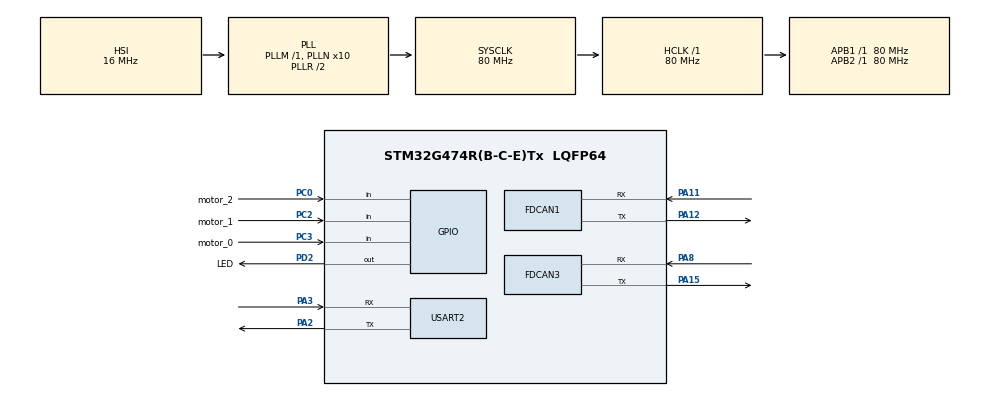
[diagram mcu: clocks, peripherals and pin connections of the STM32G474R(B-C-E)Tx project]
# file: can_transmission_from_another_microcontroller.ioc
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FDCAN1.AutoRetransmission=ENABLE
FDCAN1.CalculateBaudRateNominal=1000000
FDCAN1.CalculateTimeBitNominal=1000
FDCAN1.CalculateTimeQuantumNominal=50.0
FDCAN1.DataPrescaler=1
FDCAN1.DataTimeSeg1=31
FDCAN1.DataTimeSeg2=8
FDCAN1.FrameFormat=FDCAN_FRAME_FD_BRS
FDCAN1.NominalPrescaler=4
FDCAN1.NominalTimeSeg1=15
FDCAN1.NominalTimeSeg2=4
FDCAN1.StdFiltersNbr=1
FDCAN3.AutoRetransmission=ENABLE
FDCAN3.CalculateBaudRateNominal=1000000
FDCAN3.CalculateTimeBitNominal=1000
FDCAN3.CalculateTimeQuantumNominal=50.0
FDCAN3.DataPrescaler=1
FDCAN3.DataTimeSeg1=15
FDCAN3.DataTimeSeg2=4
FDCAN3.ExtFiltersNbr=1
FDCAN3.FrameFormat=FDCAN_FRAME_CLASSIC
FDCAN3.NominalPrescaler=4
FDCAN3.NominalTimeSeg1=15
FDCAN3.NominalTimeSeg2=4
FDCAN3.StdFiltersNbr=1
Mcu.Family=STM32G4
Mcu.Name=STM32G474R(B-C-E)Tx
Mcu.Package=LQFP64
NVIC.FDCAN1_IT0_IRQn=true\:0\:0\:false\:false\:true\:true\:true\:true
NVIC.FDCAN1_IT1_IRQn=true\:0\:0\:false\:false\:true\:true\:true\:true
NVIC.FDCAN3_IT0_IRQn=true\:0\:0\:false\:false\:true\:true\:true\:true
NVIC.FDCAN3_IT1_IRQn=true\:0\:0\:false\:false\:true\:true\:true\:true
NVIC.PriorityGroup=NVIC_PRIORITYGROUP_4
NVIC.TIM6_DAC_IRQn=true\:0\:0\:false\:false\:true\:true\:true\:true
PA11.Mode=FDCAN_Activate
PA11.Signal=FDCAN1_RX
PA12.Mode=FDCAN_Activate
PA12.Signal=FDCAN1_TX
PA15.Mode=FDCAN_Activate
PA15.Signal=FDCAN3_TX
PA2.Mode=Asynchronous
PA2.Signal=USART2_TX
PA3.Mode=Asynchronous
PA3.Signal=USART2_RX
PA8.Mode=FDCAN_Activate
PA8.Signal=FDCAN3_RX
PC0.GPIO_Label=motor_2
PC0.Signal=GPIO_Input
PC2.GPIO_Label=motor_1
PC2.Signal=GPIO_Input
PC3.GPIO_Label=motor_0
PC3.Signal=GPIO_Input
PD2.GPIO_Label=LED
PD2.Signal=GPIO_Output
ProjectManager.HeapSize=0x200
ProjectManager.StackSize=0x400
ProjectManager.TargetToolchain=CMake
RCC.ADC12Freq_Value=80000000
RCC.ADC345Freq_Value=80000000
RCC.AHBFreq_Value=80000000
RCC.APB1Freq_Value=80000000
RCC.APB1TimFreq_Value=80000000
RCC.APB2Freq_Value=80000000
RCC.APB2TimFreq_Value=80000000
RCC.CortexFreq_Value=80000000
RCC.EXTERNAL_CLOCK_VALUE=12288000
RCC.HCLKFreq_Value=80000000
RCC.HSE_VALUE=8000000
RCC.HSI48_VALUE=48000000
RCC.HSI_VALUE=16000000
RCC.LSE_VALUE=32768
RCC.PLLN=10
RCC.SYSCLKFreq_VALUE=80000000
RCC.SYSCLKSource=RCC_SYSCLKSOURCE_PLLCLK
RCC.USBFreq_Value=80000000
RCC.VCOOutputFreq_Value=160000000
TIM6.PeriodNoDither=1
TIM6.Prescaler=39999
USART2.VirtualMode-Asynchronous=VM_ASYNC
VP_SYS_VS_DBSignals.Mode=DisableDeadBatterySignals
VP_TIM6_VS_ClockSourceINT.Mode=Enable_Timer
board=custom

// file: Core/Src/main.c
/* USER CODE BEGIN Header */
/**
  ******************************************************************************
  * @file           : main.c
  * @brief          : Main program body
  ******************************************************************************
  * @attention
  *
  * Copyright (c) 2026 STMicroelectronics.
  * All rights reserved.
  *
  * This software is licensed under terms that can be found in the LICENSE file
  * in the root directory of this software component.
  * If no LICENSE file comes with this software, it is provided AS-IS.
  *
  ******************************************************************************
  */
/* USER CODE END Header */
#include "main.h"

/* USER CODE BEGIN Includes */
#include <stdint.h>
#include <string.h>
#include <stdio.h>
#include <math.h>
/* USER CODE END Includes */

/* USER CODE BEGIN PTD */
typedef struct __attribute__((packed)) { /* __attribute__((packed))で余計なメモリを入れない設定に */
    float vx;                            /* byte0-3: m/s (そのまま) */
    float vy;                            /* byte4-7: m/s (そのまま) */
    float omega;                         /* byte8-11: rad/s (そのまま) */
} can_velocity_cmd_t;

typedef struct __attribute__((packed)) {  /* __attribute__((packed))で余計なメモリを入れない設定に */
    float   speed_target;                 /* byte0-3 */
    uint8_t pid_mode;                     /* byte4: 0=locate_pid, 1=speed_pid */
    uint8_t control_motor_mode;           /* byte5: 0=電圧制御, 1=電流制御 */
    uint8_t reserved[2];                  /* byte6-7 */
} can_motor_cmd_t;

/* CAN3 startup error diagnostics: no CAN transmission or automatic recovery. */
typedef struct {
    uint32_t tick;                       /* エラーが記録された時刻 */
    uint32_t psr;                        /* CAN通信の状態を示すレジスタの値 */
    uint32_t ecr;                        /* CAN通信のエラーカウンタの値 */
    uint32_t hal_error;                  /* STM32のHALが管理するエラー情報 */
} CAN3_DiagEvent;

/* USER CODE END PTD */

/* USER CODE BEGIN PD */
/* 原点を基準とした、車輪の操舵角の上限 */
#define STEER_LIMIT_DEG 90.0f
#define STEER_LIMIT_RAD (STEER_LIMIT_DEG * (float)M_PI / 180.0f)

#define CAN_VELOCITY_CMD_ID  0x100u      // 速度指令を受信するCANID
#define CAN_MOTOR_CMD_BASE_ID 0x301u     // 車輪駆動モーターへの送信IDの基準
#define ROBOSTRIDE_HOST_ID   0xFDu       // stm32側のID

/* robostride側のID*/
#define ROBOSTRIDE_MOTOR_ID_1  1
#define ROBOSTRIDE_MOTOR_ID_2  2
#define ROBOSTRIDE_MOTOR_ID_3  127

/* RoboStrideの命令タイプ */
#define RS_TYPE_ENABLE       0x03u       // モーターを有効化する命令
#define RS_TYPE_STOP         0x04u       // モーター停止命令
#define RS_TYPE_WRITE_PARAM  0x12u       // パラメータを書き換える命令

/* RoboStrideのパラメータ番号 */
#define RS_PARAM_RUN_MODE    0x7005u     // 制御モードを指定するパラメータ番号
#define RS_PARAM_LIMIT_CUR   0x7018u     // 電流制限のパラメータ番号
#define RS_PARAM_ACC_RAD     0x7022u     // 加速度制限のパラメータ番号
#define RS_PARAM_SPD_REF     0x700Au     // 目標速度のパラメータ番号
#define RS_PARAM_LOC_REF     0x7016u     // 目標位置
#define RS_PARAM_LIMIT_SPD   0x7017u     // 位置制御中の最大速度制限

#define MAX_WHEEL_RPM 5000.0f            // 輪駆動モーターに送る回転速度指令の上限を5000 rpmに設定

#define RS_ID_SCAN_ONLY  0               // 1: ID確認、0: 通常動作

#define motor_0_Pin        GPIO_PIN_3
#define motor_0_GPIO_Port  GPIOC

#define CAN3_DIAG_CAPACITY 16U           // CAN3の診断イベントを最大16件保存

/* 停止開始直後の位置と、停止完了位置の差を許容する */
#define HOME_POSITION_TOLERANCE_RAD  0.12f

#define SWERVE_CMD_TIMEOUT_MS 300U
#define SWERVE_ALIGN_RAD      0.174533f  /* 10度 */

#define WHEEL_RADIUS_M      0.037f       // ホイール半径[m] ← 実機に合わせて変更
#define ROBOT_RADIUS_M      0.31f        // 中心からホイールまでの距離[m] ← 実機に合わせて変更

/* 車輪の角度設定 */
#define WHEEL0_ANGLE_RAD    (-(float)M_PI / 3.0f)     //  60°
#define WHEEL1_ANGLE_RAD    ((float)M_PI / 3.0f)      // -60°
#define WHEEL2_ANGLE_RAD    ((float)M_PI)

/* USER CODE END PD */

FDCAN_HandleTypeDef hfdcan1;
FDCAN_HandleTypeDef hfdcan3;

TIM_HandleTypeDef htim6;

UART_HandleTypeDef huart2;

/* USER CODE BEGIN PV */
volatile uint8_t motor_update_due = 0;   // モーターの制御処理を実行するタイミングになったかどうかを示す変数

/* 車体中心から各操舵軸までの座標[m]：前+X、左+Y */
static const float module_x[3] = {
    0.155f, 0.155f, -0.310f
};
static const float module_y[3] = {
    -0.2684679f, 0.2684679f, 0.0f
};

/* 操舵軸1回転に必要なRobStride出力軸の回転数 */
static const float steer_ratio[3] = {
    3.0f, 3.0f, 3.0f
};

/* RobStride角度の増加が、上から見て反時計回りなら+1 */
static const float steer_sign[3] = {
    1.0f, 1.0f, 1.0f
};

/* 車輪1回転に必要なN5065の回転数 */
static const float drive_ratio[3] = {
    1.0f, 1.0f, 1.0f
};

/* 原点位置で、正の指令により前進するなら+1 */
static const float drive_sign[3] = {
    -1.0f, -1.0f, -1.0f
};

static float steer_measured[3];          // RoboStrideから取得した現在の角度を保存する配列

volatile uint32_t velocity_rx_tick = 0;  // 最後にCAN通信で速度指令を受信した時刻を保存する変数

volatile uint8_t swerve_drive_enable = 1;// 駆動モーターの動作を許可するフラグ 最初は0で操舵だけ確認。確認後に1へ変更

/* robostride_motor_id[] と同じ順番 */
const uint16_t home_sensor_pin[3] = {
    GPIO_PIN_3,                      // ID 1
    GPIO_PIN_0,                      // ID 2
    GPIO_PIN_2                       // ID 127
};

const uint8_t robostride_motor_id[3] = {
    ROBOSTRIDE_MOTOR_ID_1,
    ROBOSTRIDE_MOTOR_ID_2,
    ROBOSTRIDE_MOTOR_ID_3
};

float home_position[3] = {0};            // モーターの原点位置を記録する配列
float home_detect_position[3] = {0};     // 原点センサーを検出して停止指令を出した直後の角度を記録する配列
uint8_t home_done[3] = {0};              // 各モーターの原点復帰が完了したかどうかを記録する配列

/* 初期化探索方向。逆方向にしたければ、その軸だけ負の値にする */
const float home_speed[3] = {1.5f, 1.5f, 1.5f};

volatile uint32_t tx_success_count = 0;                               // CAN送信要求が成功した回数
volatile uint32_t tx_fail_count = 0;                                  // CAN送信要求が失敗した回数
volatile HAL_StatusTypeDef rs_last_tx_status = HAL_OK;                // 最後のRoboStride送信処理のHALステータス
volatile uint32_t rs_last_tx_id = 0;                                  // 最後に送信要求したCAN ID
volatile uint32_t velocity_rx_count = 0;                              // 速度指令の受信回数

volatile float goal_speed_target = 300;                               // 速度目標 rpm
volatile uint8_t goal_pid_mode = 0;                                   // 0なら位置pidで1から速度pid
volatile uint8_t goal_control_motor_mode = 0;                         // 0なら電圧制御 1なら電流制御
volatile float rx_vx    = 0.0f;                                       /* m/s */
volatile float rx_vy    = 0.0f;                                       /* m/s */
volatile float rx_omega = 0.0f;                                       /* rad/s */

volatile int8_t control_mode[3] = {0, 0, 0};              // RoboStrideの制御モードを管理する配列 0=速度, 1=位置
volatile float robostride_spd_ref[3] = {2.0f, 2.0f, 2.0f};// RoboStrideの速度位置を保存
volatile float robostride_pos_ref[3] = {0.1f, 0.1f, 0.1f};// RoboStrideの目標位置を保存
volatile float wheel_speed_target[3] = {0.0f, 0.0f, 0.0f};// 各車輪駆動モーターの目標速度を保存
volatile uint16_t rs_last_param_index = 0;

/* CAN3のエラー記録 */
static volatile CAN3_DiagEvent can3_diag_events[CAN3_DIAG_CAPACITY];  // 16件分のエラー情報を保存
static volatile uint32_t can3_diag_count;
static volatile uint32_t can3_diag_busoff_seen;
static volatile uint32_t can3_diag_busoff_psr;
static volatile uint32_t can3_diag_busoff_ecr;

/* USER CODE END PV */

void SystemClock_Config(void);
static void MX_GPIO_Init(void);
static void MX_FDCAN1_Init(void);
static void MX_FDCAN3_Init(void);
static void MX_TIM6_Init(void);
static void MX_USART2_UART_Init(void);
/* USER CODE BEGIN PFP */
static void FDCAN1_ConfigFilterAndStart(void);
//static void compute_wheel_targets(float vx, float vy, float omega);

static HAL_StatusTypeDef robostride_send(uint8_t type, uint16_t data_area, uint8_t motor_id, uint8_t data[8]); // RoboStrideにCANメッセージを送信するための関数
static void put_u16_le(uint8_t *p, uint16_t v);
static void put_float_le(uint8_t *p, float v);
static inline float be_bytes_to_float(const uint8_t *p);
static HAL_StatusTypeDef robostride_write_float(uint8_t motor_id, uint16_t index, float value);                // float型のパラメータを書き込む
static HAL_StatusTypeDef robostride_write_u8(uint8_t motor_id, uint16_t index, uint8_t value);                 // 8ビット整数のパラメータを書き込む
static HAL_StatusTypeDef robostride_enable(uint8_t motor_id);                                                  // モーターの有効化
static HAL_StatusTypeDef robostride_stop(uint8_t motor_id);                                                    // モーターの停止
static void robostride_scan_ids(void);                                                                         // モーターIDの探索
static int home_read_param(uint8_t id, uint16_t index, void *value, uint8_t size);                             // モーターのパラメータを読み取る
static int home_send_ok(HAL_StatusTypeDef status);                                                             // 送信結果の確認と待機
static int home_one_motor(uint8_t i);                                                                          // 1台の原点復帰
static void compute_wheel_targets(float vx, float vy, float omega);                                            // 3輪の目標角度・速度を計算
static float wrap_pi(float a);                                                                                 // 角度を一定範囲に収める
static void swerve_task(void);                                                                                 // 独立ステアリングの制御処理
static int swerve_send_drive(int run);                                                                         // 3輪の駆動速度指令を送信
static int can3_wait_idle(void);                                                                               // CAN3の送信待機
HAL_StatusTypeDef send_motor_cmd(uint8_t motor_id, float speed_target, uint8_t pid_mode, uint8_t control_mode);// n5065にcanを送信する関数
/* USER CODE END PFP */
/* USER CODE BEGIN 0 */

/* CAN通信の送信待機関数 */
static int can3_wait_idle(void)
{
    uint32_t started = HAL_GetTick();                    // 開始時刻を取得

    while (hfdcan3.Instance->TXBRP != 0U) {              // CANの送信要求が残っているか確認 TXBRPはFDCANの送信要求保留レジスタで送信要求が保留されていると、対応するビットが1
        if ((hfdcan3.Instance->PSRvbbb & FDCAN_PSR_BO) ||    // FDCAN_PSR_BO は、Bus-Off状態を表すビットのマスク
            HAL_GetTick() - started >= 10U) {            // 10ms以上経過したか
            return 0;
        }

        HAL_Delay(1);
    }

    return (hfdcan3.Instance->PSR & FDCAN_PSR_BO) == 0U; // Bus-Offを確認して結果を返す
}

/* 3台の車輪駆動モーターに対して、速度指令を順番に送信 */
static int swerve_send_drive(int run)
{
    for (uint8_t i = 0; i < 3; ++i) {
        if (!can3_wait_idle()) {
            return 0;
        }

        if (send_motor_cmd(i, (run && home_done[i] && control_mode[i] == 1) ? wheel_speed_target[i] : 0.0f,goal_pid_mode, goal_control_motor_mode) != HAL_OK) {
            return 0;
        }

        if (!can3_wait_idle()) {
            return 0;
        }
    }

    return 1;
}

/* 3輪の向きを調整し、走行してよいか判断して、モーターへ指令を送る関数 */
static void swerve_task(void) {
    /* TIM6からの更新要求を取り出す */
    uint32_t request_mask = __get_PRIMASK();
    __disable_irq();                         // 割り込みを一時的に禁止

    /* 今回の更新要求を受け取って、次の更新要求を待てるように */
    uint8_t due = motor_update_due;
    motor_update_due = 0;

    __set_PRIMASK(request_mask);     // 割り込み状態を復元

    /* 更新要求がなければ終了 */
    if (!due) {
        return;
    }

    /* 仮OKの軸が残っていれば走行させない */
    for (uint8_t i = 0; i < 3; ++i) {
        if (!home_done[i] || control_mode[i] != 1) {
            (void)swerve_send_drive(0);
            return;
        }
    }

    /* 3台の現在の多回転角度を取得 */
    for (uint8_t i = 0; i < 3; ++i) {
        if (!can3_wait_idle() || !home_read_param(robostride_motor_id[i], 0x7019u, &steer_measured[i], 4) || !isfinite(steer_measured[i])) {
            (void)swerve_send_drive(0);
            return;
        }
    }

    /* 受信値をまとめてコピー */
    uint32_t mask = __get_PRIMASK();
    __disable_irq();

    float vx = rx_vx;
    float vy = rx_vy;
    float omega = rx_omega;
    uint32_t stamp = velocity_rx_tick;
    uint32_t count = velocity_rx_count;

    __set_PRIMASK(mask);

    int fresh = count != 0U && HAL_GetTick() - stamp < SWERVE_CMD_TIMEOUT_MS && isfinite(vx) && isfinite(vy) && isfinite(omega);

    if (fresh) {
        /* 元のプログラムの受信軸の対応を維持 */
        compute_wheel_targets(vy, -vx, omega);
    }
    else {
        /* 通信指令が途絶えたら走行速度を0にする */
        compute_wheel_targets(0.0f, 0.0f, 0.0f);
    }

    int aligned = 1;

    for (uint8_t i = 0; i < 3; ++i) {
        float error = (robostride_pos_ref[i] - steer_measured[i]) / (steer_sign[i] * steer_ratio[i]);

        if (fabsf(error) > SWERVE_ALIGN_RAD) {
            aligned = 0;         //誤差が10度を超えると3つのモーターを0にする
        }

        /* 操舵位置を送信 */
        if (!can3_wait_idle() || robostride_write_float(robostride_motor_id[i], RS_PARAM_LOC_REF, robostride_pos_ref[i]) != HAL_OK || !can3_wait_idle()) {
            (void)swerve_send_drive(0);
            return;
        }
    }

    /* 駆動を許可するか判定 */
    int run = swerve_drive_enable && fresh && aligned &&HAL_GetTick() - stamp < SWERVE_CMD_TIMEOUT_MS;
    (void)swerve_send_drive(run);
}

static float wrap_pi(float a)
{
    return remainderf(a, 2.0f * (float)M_PI);  // a を \(2\pi\) で割ったIEEE方式の剰余を求める
}

/* 独立ステアリングの座標変換関数 */
static void compute_wheel_targets(float vx, float vy, float omega)
{
    float largest = 0.0f;                     // 最も大きい目標回転数の絶対値を保存
    int feasible = 1;                         // 3輪すべてで必要な向きを作れるかを記録

    for (uint8_t i = 0; i < 3; ++i) {
        float ux = vx - omega * module_y[i];
        float uy = vy + omega * module_x[i];
        float speed = hypotf(ux, uy);         // hypotf(ux, uy)は(ux^2 + uy^2)のルート

        wheel_speed_target[i] = 0.0f;

        /* 停止時は最後の操舵目標を保持 */
        if (speed < 0.001f) {
            continue;
        }

        /* 原点基準の現在の車輪角度 */
        float current = (steer_measured[i] - home_position[i]) / (steer_sign[i] * steer_ratio[i]);  // 現在の車輪の向きを、原点基準の角度(rad)に
        float heading = atan2f(uy, ux);        // y座標とx座標から角度を求める関数 +-180°
        float best_angle = 0.0f;               // 最終的に選ぶ車輪の向きを保存
        float best_distance = INFINITY;        // 現在位置からの最短移動量を保存
        float best_sign = 1.0f;                // 駆動方向の補正を保存
        int found = 0;                         // 範囲内の操舵角を見つけたか記録

        /* 同じ走行方向を実現できる角度から、制限内で現在位置に最も近いものを選ぶ */
        for (int k = -1; k <= 1; ++k) {
            float candidate = heading + (float)k * (float)M_PI;  // 元の方向に、180°ずつ足し引きした操舵角を作成

            if (fabsf(candidate) > STEER_LIMIT_RAD) {            // 候補の角度が、設定した上限を超えていないか確認
                continue;
            }

            float distance = fabsf(candidate - current);         // 現在の車輪角度から、その候補まで何rad動く必要があるかを計算

            if (distance < best_distance) {                      // 今までの候補より移動量が小さい場合に、その候補を採用
                best_distance = distance;
                best_angle = candidate;

                /* 180度ずらす場合は駆動方向を反転 */
                best_sign = (k % 2 == 0) ? 1.0f : -1.0f;
                found = 1;
            }
        }

        /* 範囲内の角度がなければ走行させない */
        if (!found) {
            feasible = 0;
            continue;
        }

        /* 現在位置への加算ではなく、原点基準で指定 */
        robostride_pos_ref[i] = home_position[i] + steer_sign[i] * steer_ratio[i] * best_angle;
        wheel_speed_target[i] = speed * best_sign * 60.0f / (2.0f * (float)M_PI * WHEEL_RADIUS_M) * drive_ratio[i] * drive_sign[i];
        largest = fmaxf(largest, fabsf(wheel_speed_target[i]));
    }

    /* 1軸でも実現できなければ3輪とも駆動停止 */
    if (!feasible) {
        for (uint8_t i = 0; i < 3; ++i) {
            wheel_speed_target[i] = 0.0f;
        }
        return;
    }

    /* 回転数上限を維持 */
    if (largest > MAX_WHEEL_RPM) {
        float scale = MAX_WHEEL_RPM / largest;

        for (uint8_t i = 0; i < 3; ++i) {
            wheel_speed_target[i] *= scale;
        }
    }
}

/* RoboStrideへのCAN送信要求が正常に受け付けられたか確認し、次の指令まで少し待機するための関数 */
static int home_send_ok(HAL_StatusTypeDef status)
{
    if (status != HAL_OK) return 0;

    HAL_Delay(10);

    return (hfdcan3.Instance->PSR & FDCAN_PSR_BO) == 0U;  // FDCAN3がBus-Off状態でなければ 1 を返し、Bus-Offなら 0
}

/* 独立ステアリングの操舵モーターを原点復帰 */
static int home_one_motor(uint8_t i)
{
    uint8_t id = robostride_motor_id[i];
    uint8_t mode;
    uint8_t stop_data[8] = {0};
    stop_data[0] = 1;                    // 初期化開始時に異常解除を要求
    home_done[i] = 0;

    /* 停止 → 速度モード → 電流制限 → 速度0 */
    if (!home_send_ok(robostride_send(RS_TYPE_STOP, ROBOSTRIDE_HOST_ID, id, stop_data)) ||
        !home_send_ok(robostride_write_u8(id, RS_PARAM_RUN_MODE, 2)) ||
        !home_send_ok(robostride_write_float(id, RS_PARAM_LIMIT_CUR, 3.0f)) ||
        !home_send_ok(robostride_write_float(id, RS_PARAM_SPD_REF, 0.0f))) {
        return 0;
    }

    stop_data[0] = 0;

    /* 速度モードに切り替わったことを確認 */
    if (!home_read_param(id, RS_PARAM_RUN_MODE, &mode, 1) || mode != 2) {
        return 0;
    }

    if (!home_send_ok(robostride_enable(id))) return 0;

    printf("HOME START id=%u\r\n", (unsigned int)id);
    fflush(stdout);

    uint32_t started = HAL_GetTick();

    /* 初めから0なら、回さず現在位置を原点として扱う */
    if (HAL_GPIO_ReadPin(GPIOC, home_sensor_pin[i]) == GPIO_PIN_SET) {

        if (!home_send_ok(robostride_write_float(id, RS_PARAM_SPD_REF, home_speed[i]))) {
            return 0;
        }

        // /* 診断用：回転指令が反映されたか、実際に回っているか確認 */
        // HAL_Delay(100);

        // float check_ref = NAN;
        // float check_vel = NAN;
        // float check_cur = NAN;

        // int ref_ok = home_read_param(id, RS_PARAM_SPD_REF, &check_ref, 4);

        // int vel_ok = home_read_param(id, 0x701Bu, &check_vel, 4);

        // int cur_ok = home_read_param(id, RS_PARAM_LIMIT_CUR, &check_cur, 4);

        // printf("HOME CHECK id=%u sensor=%u ""ref_ok=%d ref_x1000=%ld ""vel_ok=%d vel_x1000=%ld ""cur_ok=%d limit_mA=%ld BO=%u\r\n",(unsigned int)id,(unsigned int)HAL_GPIO_ReadPin(GPIOC, home_sensor_pin[i]),ref_ok,(long)((ref_ok && isfinite(check_ref))? check_ref * 1000.0f : -999999.0f),vel_ok,(long)((vel_ok && isfinite(check_vel)) ? check_vel * 1000.0f : -999999.0f), cur_ok, (long)((cur_ok && isfinite(check_cur)) ? check_cur * 1000.0f : -999999.0f), (unsigned int)((hfdcan3.Instance->PSR & FDCAN_PSR_BO) != 0U));
        // fflush(stdout);

        while (HAL_GPIO_ReadPin(GPIOC, home_sensor_pin[i]) == GPIO_PIN_SET) {

            /* 見つからなければ45秒で中止 */
            if (HAL_GetTick() - started >= 45000U ||
                (hfdcan3.Instance->PSR & FDCAN_PSR_BO)) {
                return 0;
            }

            HAL_Delay(1);
        }
    }

    /* 0を検出したら速度指令を0にする */
    if (!home_send_ok(robostride_write_float(id, RS_PARAM_SPD_REF, 0.0f))) {
        return 0;
    }

    /* 停止指令直後の角度を記録 */
    if (!home_read_param(id, 0x7019u, &home_detect_position[i], 4) ||
      !isfinite(home_detect_position[i])) {
      return 0;
    }

    /* 速度が落ち着くまで待つ */
    uint32_t settling = HAL_GetTick();
    uint8_t still_count = 0;

    while (still_count < 3) {
        float speed;

        if (HAL_GetTick() - settling >= 1000U || !home_read_param(id, 0x701Bu, &speed, 4) || !isfinite(speed)) {
            return 0;
        }

        still_count = fabsf(speed) < 0.03f ? (uint8_t)(still_count + 1) : 0;

        HAL_Delay(20);
    }

    if (!home_send_ok(robostride_send(RS_TYPE_STOP, ROBOSTRIDE_HOST_ID, id, stop_data))) {
        return 0;
    }

    /* 現在の多回転角度を読み取って保存 */
    if (!home_read_param(id, 0x7019u, &home_position[i], 4) ||
        !isfinite(home_position[i])) {
        return 0;
    }

    float position_error = fabsf(home_position[i] - home_detect_position[i]);

    if (position_error > HOME_POSITION_TOLERANCE_RAD) {
      printf("HOME FAILED: stop movement too large id=%u\r\n", (unsigned int)id);
      fflush(stdout);
      return 0;
    }

    /* 位置モードへ。目標は0ではなく、いま保存した角度 */
    if (!home_send_ok(robostride_write_u8(id, RS_PARAM_RUN_MODE, 5)) ||
        !home_send_ok(robostride_write_float(id, RS_PARAM_LIMIT_SPD, 15.0f)) ||
        !home_send_ok(robostride_write_float(id, RS_PARAM_LOC_REF, home_position[i]))) {
        return 0;
    }

    if (!home_read_param(id, RS_PARAM_RUN_MODE, &mode, 1) ||
        mode != 5) {
        return 0;
    }

    robostride_pos_ref[i] = home_position[i];
    robostride_spd_ref[i] = 0.0f;
    control_mode[i] = 1;

    if (!home_send_ok(robostride_enable(id))) return 0;

    printf("HOME DONE id=%u\r\n", (unsigned int)id);
    fflush(stdout);

    home_done[i] = 1;

    return 1;
}

/* RoboStrideモーターにCAN通信でパラメータの読み取り要求を送り、返ってきた値を取得する関数 */
static int home_read_param(uint8_t id, uint16_t index, void *value, uint8_t size)
{
    FDCAN_RxHeaderTypeDef rx;
    uint8_t data[64];

    /* 古い受信データを削除する */
    while (HAL_FDCAN_GetRxFifoFillLevel(&hfdcan3, FDCAN_RX_FIFO0) > 0U) {  // 受信FIFOに何件のメッセージが保存されているかを調べる
        if (HAL_FDCAN_GetRxMessage(&hfdcan3, FDCAN_RX_FIFO0, &rx, data) != HAL_OK) {
            return 0;
        }

        /* 診断用：捨てる前に状態・異常フレームを表示 */
        // if (rx.IdType == FDCAN_EXTENDED_ID && rx.RxFrameType == FDCAN_DATA_FRAME && rx.DataLength == FDCAN_DLC_BYTES_8) { uint8_t report_type = (uint8_t)((rx.Identifier >> 24) & 0x1FU);
        //     uint8_t report_motor = (uint8_t)((rx.Identifier >> 8) & 0xFFU);
        //     if (report_motor == id && (report_type == 2U || report_type == 21U)) {
        //         printf("RS REPORT id=%u type=%u CAN=0x%08lX ""DATA=%02X %02X %02X %02X %02X %02X %02X %02X\r\n",(unsigned int)report_motor,(unsigned int)report_type,(unsigned long)rx.Identifier,(unsigned int)data[0], (unsigned int)data[1],(unsigned int)data[2], (unsigned int)data[3],(unsigned int)data[4], (unsigned int)data[5],(unsigned int)data[6], (unsigned int)data[7]);
        //         fflush(stdout);
        //     }
        // }
    }

    uint8_t request[8] = {0};
    put_u16_le(request, index);  //index(ロボストライドに対する命令をリトルエンディアン形式の2バイトに分けて保存)

    if (robostride_send(0x11u, ROBOSTRIDE_HOST_ID,id, request) != HAL_OK) {
        return 0;
    }

    uint32_t started = HAL_GetTick();

    while (HAL_GetTick() - started < 200U) {
        if (hfdcan3.Instance->PSR & FDCAN_PSR_BO) {
            return 0;
        }

        if (HAL_FDCAN_GetRxFifoFillLevel(&hfdcan3, FDCAN_RX_FIFO0) > 0U) {    // 受信FIFOにデータが存在するかを確認
            if (HAL_FDCAN_GetRxMessage(&hfdcan3, FDCAN_RX_FIFO0,&rx, data) != HAL_OK) {
                return 0;
            }

            /* 診断用：捨てる前に状態・異常フレームを表示 */
            // if (rx.IdType == FDCAN_EXTENDED_ID && rx.RxFrameType == FDCAN_DATA_FRAME && rx.DataLength == FDCAN_DLC_BYTES_8) {
            //     uint8_t report_type = (uint8_t)((rx.Identifier >> 24) & 0x1FU);
            //     uint8_t report_motor = (uint8_t)((rx.Identifier >> 8) & 0xFFU);
            //     if (report_motor == id && (report_type == 2U || report_type == 21U)) {
            //         printf("RS REPORT id=%u type=%u CAN=0x%08lX ""DATA=%02X %02X %02X %02X %02X %02X %02X %02X\r\n",(unsigned int)report_motor,(unsigned int)report_type,(unsigned long)rx.Identifier,(unsigned int)data[0], (unsigned int)data[1],(unsigned int)data[2], (unsigned int)data[3],(unsigned int)data[4], (unsigned int)data[5],(unsigned int)data[6], (unsigned int)data[7]);
            //         fflush(stdout);
            //     }
            // }

            if (rx.IdType != FDCAN_EXTENDED_ID || rx.FDFormat != FDCAN_CLASSIC_CAN || rx.RxFrameType != FDCAN_DATA_FRAME || rx.DataLength != FDCAN_DLC_BYTES_8) {
                continue;
            }

            uint8_t type = (rx.Identifier >> 24) & 0x1Fu;  // RoboStrideの通信タイプを取得
            uint8_t source = (rx.Identifier >> 8) & 0xFFu; // 送信元のモーターIDを取得
            uint16_t received_index = data[0] | ((uint16_t)data[1] << 8);

            if (type == 0x11u && source == id && (rx.Identifier & 0xFFu) == ROBOSTRIDE_HOST_ID && received_index == index) {
                /* bit23:16が0なら読み取り成功 */
                if (((rx.Identifier >> 16) & 0xFFu) != 0U) {
                    return 0;
                }

                memcpy(value, &data[4], size);
                return 1;
            }
        }

        HAL_Delay(1);
    }

    return 0;
}

static void CAN3_DiagCapture(FDCAN_HandleTypeDef *hfdcan)
{
    if (hfdcan->Instance != FDCAN3) {
        return;
    }

    /* Reading PSR acknowledges the last error code. Preserve this first read. */
    uint32_t psr = hfdcan->Instance->PSR;  // 通信状態や最後のエラーを保持
    uint32_t ecr = hfdcan->Instance->ECR;  // 送受信エラーカウンタを保持
    uint32_t lec = psr & FDCAN_PSR_LEC;

    /* 最初に検出したBus-Offの情報を残しておく */
    if ((psr & FDCAN_PSR_BO) != 0U && can3_diag_busoff_seen == 0U) {
        can3_diag_busoff_psr = psr;
        can3_diag_busoff_ecr = ecr;
        can3_diag_busoff_seen = 1U;
    }

    /* エラーがなければ終了 */
    if (lec == 0U || lec == 7U) {
        return;
    }

    /* エラー情報を配列に保存 */
    uint32_t index = can3_diag_count;
    if (index < CAN3_DIAG_CAPACITY) {
        can3_diag_events[index].tick = HAL_GetTick();
        can3_diag_events[index].psr = psr;
        can3_diag_events[index].ecr = ecr;
        can3_diag_events[index].hal_error = hfdcan->ErrorCode;
        can3_diag_count = index + 1U;
    }
}

void HAL_FDCAN_ErrorCallback(FDCAN_HandleTypeDef *hfdcan)
{
    CAN3_DiagCapture(hfdcan);
}

void HAL_FDCAN_ErrorStatusCallback(FDCAN_HandleTypeDef *hfdcan, uint32_t ErrorStatusITs)
{
    (void)ErrorStatusITs;
    CAN3_DiagCapture(hfdcan);
}

/* Call after FDCAN3_ConfigAndStart(), before the first motor command. */
static HAL_StatusTypeDef CAN3_DiagEnable(void)
{
    return HAL_FDCAN_ActivateNotification(&hfdcan3, FDCAN_IT_ARB_PROTOCOL_ERROR | FDCAN_IT_DATA_PROTOCOL_ERROR | FDCAN_IT_BUS_OFF | FDCAN_IT_ERROR_PASSIVE | FDCAN_IT_ERROR_WARNING, 0U);
}

/* エラー通知を有効化する関数 */
static void CAN3_DiagPrint(void)
{
    static uint32_t printed;
    static uint32_t busoff_printed;
    uint32_t count = can3_diag_count;

    while (printed < count) {
        uint32_t i = printed;
        uint32_t psr = can3_diag_events[i].psr;
        uint32_t ecr = can3_diag_events[i].ecr;
        printf("CAN3_FIRST[%lu] t=%lu LEC=%lu TEC=%lu REC=%lu "
            "PSR=0x%08lX ECR=0x%08lX HAL=0x%08lX\r\n",
               (unsigned long)i,
               (unsigned long)can3_diag_events[i].tick,
               (unsigned long)(psr & FDCAN_PSR_LEC),
               (unsigned long)((ecr & FDCAN_ECR_TEC) >> FDCAN_ECR_TEC_Pos),
               (unsigned long)((ecr & FDCAN_ECR_REC) >> FDCAN_ECR_REC_Pos),
               (unsigned long)psr, (unsigned long)ecr,
               (unsigned long)can3_diag_events[i].hal_error);
        printed++;
    }

    if (can3_diag_busoff_seen != 0U && busoff_printed == 0U) {
        printf("CAN3_BUSOFF PSR=0x%08lX ECR=0x%08lX\r\n",
               (unsigned long)can3_diag_busoff_psr,
               (unsigned long)can3_diag_busoff_ecr);
        busoff_printed = 1U;
    }
}

/*モーターを動かしてよい状態にする関数*/
static HAL_StatusTypeDef robostride_enable(uint8_t motor_id)
{
    uint8_t data[8] = {0};
    return robostride_send(RS_TYPE_ENABLE, ROBOSTRIDE_HOST_ID, motor_id, data);
}

/*モーターを停止させる関数*/
static HAL_StatusTypeDef robostride_stop(uint8_t motor_id)
{
    uint8_t data[8] = {0};
    data[0] = 1;
    return robostride_send(RS_TYPE_STOP, ROBOSTRIDE_HOST_ID, motor_id, data);
}

/*送信関数 引数typeはRoboStrideの通信タイプ data_areaはCAN拡張IDの中央部分に入れる値*/
static HAL_StatusTypeDef robostride_send(uint8_t type, uint16_t data_area, uint8_t motor_id, uint8_t data[8])
{
    FDCAN_TxHeaderTypeDef tx = {0};

    tx.Identifier = ((uint32_t)type << 24) | ((uint32_t)data_area << 8) | motor_id; //RoboStride用の29bit拡張CANIDを作成
    tx.IdType = FDCAN_EXTENDED_ID;                                                  //ロボマスではstandardidだったがロボストライドでは拡張id
    tx.TxFrameType = FDCAN_DATA_FRAME;
    tx.DataLength = FDCAN_DLC_BYTES_8;                                              //RoboStrideの命令は基本8バイト
    tx.ErrorStateIndicator = FDCAN_ESI_ACTIVE;
    tx.BitRateSwitch = FDCAN_BRS_OFF;
    tx.FDFormat = FDCAN_CLASSIC_CAN;
    tx.TxEventFifoControl = FDCAN_NO_TX_EVENTS;
    tx.MessageMarker = 0;

    HAL_StatusTypeDef st = HAL_FDCAN_AddMessageToTxFifoQ(&hfdcan3, &tx, data);
    rs_last_tx_status = st;
    rs_last_tx_id = tx.Identifier;
    if (st == HAL_OK) {
        tx_success_count++;
    } else {
        tx_fail_count++;
    }
    return st;
}

/*16bitのデータを2つに分解する関数*/
static void put_u16_le(uint8_t *p, uint16_t v)
{
    p[0] = v & 0xFF;
    p[1] = (v >> 8) & 0xFF;
}

/*floatの値をRoboStrideに送る形に詰めるための関数 pにvの4バイトがコピーされている*/
static void put_float_le(uint8_t *p, float v)
{
    memcpy(p, &v, 4);
}

/*floatデータから送信データを作成し、送信する関数*/
static HAL_StatusTypeDef robostride_write_float(uint8_t motor_id, uint16_t index, float value)
{
    uint8_t data[8] = {0};

    put_u16_le(&data[0], index);
    put_float_le(&data[4], value);

    rs_last_param_index = index;

    return robostride_send(RS_TYPE_WRITE_PARAM, ROBOSTRIDE_HOST_ID, motor_id, data);
}

/*intデータから送信データを作成し、送信する関数*/
static HAL_StatusTypeDef robostride_write_u8(uint8_t motor_id, uint16_t index, uint8_t value)
{
    uint8_t data[8] = {0};

    put_u16_le(&data[0], index);
    data[4] = value;
    rs_last_param_index = index;

    return robostride_send(RS_TYPE_WRITE_PARAM, ROBOSTRIDE_HOST_ID, motor_id, data);
}

/*受信した4バイトのデータを float に戻す関数*/
static inline float be_bytes_to_float(const uint8_t *p)
{
    union { uint32_t u; float f; } conv;
    conv.u = ((uint32_t)p[0] << 24) | ((uint32_t)p[1] << 16)
           | ((uint32_t)p[2] << 8)  | (uint32_t)p[3];
    return conv.f;
}

static void FDCAN1_ConfigFilterAndStart(void)
{
    FDCAN_FilterTypeDef sFilterConfig = {0};

    sFilterConfig.IdType       = FDCAN_STANDARD_ID;
    sFilterConfig.FilterIndex  = 0;
    sFilterConfig.FilterType   = FDCAN_FILTER_DUAL;
    sFilterConfig.FilterConfig = FDCAN_FILTER_TO_RXFIFO0;
    sFilterConfig.FilterID1    = CAN_VELOCITY_CMD_ID;
    sFilterConfig.FilterID2    = CAN_VELOCITY_CMD_ID;
    if (HAL_FDCAN_ConfigFilter(&hfdcan1, &sFilterConfig) != HAL_OK)
    {
        Error_Handler();
    }

    if (HAL_FDCAN_ConfigGlobalFilter(&hfdcan1, FDCAN_REJECT, FDCAN_REJECT,
                                      FDCAN_FILTER_REMOTE, FDCAN_FILTER_REMOTE) != HAL_OK)
    {
        Error_Handler();
    }

    if (HAL_FDCAN_ActivateNotification(&hfdcan1, FDCAN_IT_RX_FIFO0_NEW_MESSAGE, 0) != HAL_OK)
    {
        Error_Handler();
    }

    if (HAL_FDCAN_Start(&hfdcan1) != HAL_OK)
    {
        Error_Handler();
    }
}

// /* 3輪オムニの逆運動学: vx,vy[m/s], omega[rad/s] → 各ホイールrpm */
// static void compute_wheel_targets(float vx, float vy, float omega)
// {
//     const float wheel_angle[3] = { WHEEL0_ANGLE_RAD, WHEEL1_ANGLE_RAD, WHEEL2_ANGLE_RAD };

//     for (int i = 0; i < 3; i++)
//     {
//         // 接線方向速度成分 + 回転による寄与
//         float v_wheel_mps = -vx * sinf(wheel_angle[i]) + vy * cosf(wheel_angle[i])
//                              + ROBOT_RADIUS_M * omega;

//         // m/s → rpm変換: rpm = v / (2*pi*r) * 60
//         float rpm = v_wheel_mps / (2.0f * (float)M_PI * WHEEL_RADIUS_M) * 60.0f;

//         if (rpm > MAX_WHEEL_RPM)  rpm = MAX_WHEEL_RPM;
//         if (rpm < -MAX_WHEEL_RPM) rpm = -MAX_WHEEL_RPM;

//         wheel_speed_target[i] = rpm;
//     }
// }

void HAL_FDCAN_RxFifo0Callback(FDCAN_HandleTypeDef *hfdcan, uint32_t RxFifo0ITs)
{
    if (hfdcan->Instance != FDCAN1) return;
    if ((RxFifo0ITs & FDCAN_IT_RX_FIFO0_NEW_MESSAGE) == 0) return;

    FDCAN_RxHeaderTypeDef RxHeader;
    uint8_t RxData[64];   // CAN FDは最大64byteなのでバッファを拡張

    if (HAL_FDCAN_GetRxMessage(hfdcan, FDCAN_RX_FIFO0, &RxHeader, RxData) != HAL_OK)
    {
        return;
    }

    if (RxHeader.IdType != FDCAN_STANDARD_ID) return;
    if (RxHeader.Identifier != CAN_VELOCITY_CMD_ID) return;
    if (RxHeader.FDFormat != FDCAN_FD_CAN || RxHeader.BitRateSwitch != FDCAN_BRS_ON || RxHeader.DataLength != FDCAN_DLC_BYTES_12)
    {
      return;
    }
    can_velocity_cmd_t cmd;

    cmd.vx    = be_bytes_to_float(&RxData[0]);
    cmd.vy    = be_bytes_to_float(&RxData[4]);
    cmd.omega = be_bytes_to_float(&RxData[8]);

    rx_vx    = cmd.vx;
    rx_vy    = cmd.vy;
    rx_omega = cmd.omega;

    velocity_rx_tick = HAL_GetTick();

    velocity_rx_count++;
}

// static void FDCAN3_ConfigAndStart(void)
// {
//     FDCAN_FilterTypeDef sFilterConfig = {0};

//     /* 基本的に送信用のリポジトリなのでフィルタは全拒否のグローバル設定 */
//     HAL_FDCAN_ConfigGlobalFilter(&hfdcan3, FDCAN_REJECT, FDCAN_REJECT,
//                                   FDCAN_FILTER_REMOTE, FDCAN_FILTER_REMOTE);

//     if (HAL_FDCAN_Start(&hfdcan3) != HAL_OK)   //  hfdcan3
//     {
//         Error_Handler();
//     }
// }

static void robostride_scan_ids(void)
{
    uint8_t seen[256] = {0};
    uint16_t found_count = 0;

    printf("\r\n=== RobStride ID scan start ===\r\n");

    /* 古い受信データを捨てる */
    while (HAL_FDCAN_GetRxFifoFillLevel(
               &hfdcan3, FDCAN_RX_FIFO0) > 0U) {
        FDCAN_RxHeaderTypeDef header;
        uint8_t data[64];

        if (HAL_FDCAN_GetRxMessage(
                &hfdcan3, FDCAN_RX_FIFO0,
                &header, data) != HAL_OK) {
            break;
        }
    }

    /* 8bitのID候補を順番に問い合わせる */
    for (uint16_t candidate = 0; candidate < 256; candidate++) {
        uint8_t request[8] = {0};

        /* 通信タイプ0：ID取得。ID変更やEnableは送らない */
        HAL_StatusTypeDef st = robostride_send(
            0x00,
            ROBOSTRIDE_HOST_ID,
            (uint8_t)candidate,
            request);

        if (st != HAL_OK) {
            CAN3_DiagPrint();
            printf("Scan TX failed: candidate=%u status=%d\r\n",
                   (unsigned int)candidate, (int)st);
            return;
        }

        uint32_t started = HAL_GetTick();

        /* 各IDについて約30ms応答を待つ */
        while ((uint32_t)(HAL_GetTick() - started) < 30U) {
            while (HAL_FDCAN_GetRxFifoFillLevel(
                       &hfdcan3, FDCAN_RX_FIFO0) > 0U) {
                FDCAN_RxHeaderTypeDef header;
                uint8_t data[64];

                if (HAL_FDCAN_GetRxMessage(
                        &hfdcan3, FDCAN_RX_FIFO0,
                        &header, data) != HAL_OK) {
                    break;
                }

                if (header.IdType != FDCAN_EXTENDED_ID ||
                    header.FDFormat != FDCAN_CLASSIC_CAN ||
                    header.RxFrameType != FDCAN_DATA_FRAME ||
                    header.DataLength != FDCAN_DLC_BYTES_8) {
                    continue;
                }

                uint8_t type =
                    (uint8_t)((header.Identifier >> 24) & 0x1FU);

                /*
                 * タイプ0のID応答：
                 * 下位8bitが0xFE、bit23:8にモーターID
                 */
                if (type != 0x00U ||
                    (header.Identifier & 0xFFU) != 0xFEU) {
                    continue;
                }

                uint16_t motor_id =
                    (uint16_t)((header.Identifier >> 8) & 0xFFFFU);

                if (motor_id > 255U || seen[motor_id]) {
                    continue;
                }

                seen[motor_id] = 1;
                found_count++;

                printf("FOUND: motor_id=%u (0x%02X)"
                       " CAN_ID=0x%08lX UID=",
                       (unsigned int)motor_id,
                       (unsigned int)motor_id,
                       (unsigned long)header.Identifier);

                for (uint8_t i = 0; i < 8; i++) {
                    printf("%02X", (unsigned int)data[i]);
                }

                printf("\r\n");
            }

            HAL_Delay(1);
        }
    }

    printf("=== Scan finished: %u distinct ID(s) ===\r\n",
           (unsigned int)found_count);
}

static void FDCAN3_ConfigAndStart(void)
{
    FDCAN_FilterTypeDef filter = {0};

    filter.IdType       = FDCAN_EXTENDED_ID;
    filter.FilterIndex  = 0;
    filter.FilterType   = FDCAN_FILTER_MASK;
    filter.FilterConfig = FDCAN_FILTER_TO_RXFIFO0;
    filter.FilterID1    = 0;
    filter.FilterID2    = 0;  // マスク0：すべての拡張IDを通す

    if (HAL_FDCAN_ConfigFilter(&hfdcan3, &filter) != HAL_OK) {
        Error_Handler();
    }

    if (HAL_FDCAN_ConfigGlobalFilter(
            &hfdcan3,
            FDCAN_REJECT, FDCAN_REJECT,
            FDCAN_FILTER_REMOTE, FDCAN_FILTER_REMOTE) != HAL_OK) {
        Error_Handler();
    }

    if (HAL_FDCAN_Start(&hfdcan3) != HAL_OK) {
        Error_Handler();
    }
}

HAL_StatusTypeDef send_motor_cmd(uint8_t motor_id, float speed_target,
                                  uint8_t pid_mode, uint8_t control_mode)
{
    FDCAN_TxHeaderTypeDef TxHeader;
    can_motor_cmd_t cmd;

    cmd.speed_target = speed_target;
    cmd.pid_mode = pid_mode;
    cmd.control_motor_mode = control_mode;
    cmd.reserved[0] = 0;
    cmd.reserved[1] = 0;

    TxHeader.Identifier = CAN_MOTOR_CMD_BASE_ID + motor_id;
    TxHeader.IdType = FDCAN_STANDARD_ID;
    TxHeader.TxFrameType = FDCAN_DATA_FRAME;
    TxHeader.DataLength = FDCAN_DLC_BYTES_8;
    TxHeader.ErrorStateIndicator = FDCAN_ESI_ACTIVE;
    TxHeader.BitRateSwitch = FDCAN_BRS_OFF;
    TxHeader.FDFormat = FDCAN_CLASSIC_CAN;
    TxHeader.TxEventFifoControl = FDCAN_NO_TX_EVENTS;
    TxHeader.MessageMarker = 0;

    return HAL_FDCAN_AddMessageToTxFifoQ(&hfdcan3, &TxHeader, (uint8_t*)&cmd);  // hfdcan3
}

void HAL_TIM_PeriodElapsedCallback(TIM_HandleTypeDef *htim)
{
    if (htim->Instance == TIM6)
    {
        //とりあえず今はロボストライド単体で動かすのでerrorメッセージを返してしまうからコメントアウト
        // for (uint8_t i = 0; i < 3; i++)
        // {
        //     HAL_StatusTypeDef st = send_motor_cmd(i, wheel_speed_target[i],
        //                                            goal_pid_mode, goal_control_motor_mode);
        //     if (st == HAL_OK) { tx_success_count++; } else { tx_fail_count++; }
        // }

        // static uint32_t tim6_div = 0;

        // if (++tim6_div >= 20)   // 20msごとくらい
        // {
        //     tim6_div = 0;

        //   for (uint8_t i = 0; i < 3; i++) {
        //     uint8_t id = robostride_motor_id[i];

        //     if (control_mode[i] == 0) {
        //       robostride_write_float(id, RS_PARAM_SPD_REF, robostride_spd_ref[i]);
        //     }
        //     else if (control_mode[i] == 1) {
        //       robostride_write_float(id, RS_PARAM_LOC_REF, robostride_pos_ref[i]);
        //     }
        //   }
        if (htim->Instance != TIM6) {
        return;
    }

    /* 現在のTIM6設定は1ms周期 */
    static uint8_t divider = 0;

    if (++divider >= 20U) {
        divider = 0;
        motor_update_due = 1;
    }

    }
}

int _write(int file, char *ptr, int len)
{
  (void)file;
  HAL_UART_Transmit(&huart2, (uint8_t*)ptr, (uint16_t)len, HAL_MAX_DELAY);
  return len;
}
/* USER CODE END 0 */

int main(void)
{

  /* MCU Configuration--------------------------------------------------------*/

  /* Reset of all peripherals, Initializes the Flash interface and the Systick. */
  HAL_Init();

  /* Configure the system clock */
  SystemClock_Config();

  /* Initialize all configured peripherals */
  MX_GPIO_Init();
  MX_FDCAN1_Init();
  MX_FDCAN3_Init();
  MX_TIM6_Init();
  MX_USART2_UART_Init();
  /* USER CODE BEGIN 2 */
  FDCAN3_ConfigAndStart();
  if (CAN3_DiagEnable() != HAL_OK) {
    Error_Handler();
  }
  FDCAN1_ConfigFilterAndStart();
  HAL_NVIC_SetPriority(TIM6_DAC_IRQn, 1, 0);
  HAL_NVIC_EnableIRQ(TIM6_DAC_IRQn);
  HAL_NVIC_SetPriority(FDCAN1_IT0_IRQn, 0, 0);
  HAL_NVIC_EnableIRQ(FDCAN1_IT0_IRQn);

  if (RS_ID_SCAN_ONLY) {
    HAL_Delay(200);

    robostride_scan_ids();

    /* 後ろのEnable・目標送信・TIM6開始には進まない */
    while (1) {
        HAL_Delay(1000);
        CAN3_DiagPrint();
    }
  }

  uint8_t data[8] = {0};

  // for (uint8_t i = 0; i < 3; i++) {
  //   uint8_t id = robostride_motor_id[i];

  //   robostride_stop(id);
  //   HAL_Delay(100 );

  //   if (control_mode[i] == 0) {
  //       robostride_write_u8(id, RS_PARAM_RUN_MODE, 2);  // 速度
  //       HAL_Delay(100);

  //       robostride_write_float(id, RS_PARAM_LIMIT_CUR, 1.0f);
  //       HAL_Delay(50);
  //   } else if (control_mode[i] == 1) {
  //       robostride_write_u8(id, RS_PARAM_RUN_MODE, 5);  // 位置
  //       HAL_Delay(100);

  //       robostride_write_float(id, RS_PARAM_LIMIT_CUR, 1.0f);
  //       HAL_Delay(50);

  //       robostride_write_float(id, RS_PARAM_LIMIT_SPD, 1.0f);
  //       HAL_Delay(50);
  //   }

  //   robostride_enable(id);
  //   HAL_Delay(100);
  // }

  HAL_Delay(1000);

  /* 探索を始める前に3台とも停止させる */
  for (uint8_t i = 0; i < 3; i++) {
    uint8_t stop_data[8] = {0};

    robostride_send(RS_TYPE_STOP, ROBOSTRIDE_HOST_ID, robostride_motor_id[i], stop_data);
    HAL_Delay(10);
  }

  /* ID1 → ID2 → ID127の順に探索 */
  for (uint8_t i = 0; i < 3; i++) {

    /* 一時対応：ID2・ID127はセンサー0なら仮OK */
    // if ((robostride_motor_id[i] == 2 ||
    //   robostride_motor_id[i] == 127) &&
    //   HAL_GPIO_ReadPin(GPIOC, home_sensor_pin[i])
    //     == GPIO_PIN_RESET) {

    //   home_done[i] = 1;
    //   control_mode[i] = -1;
    //   continue;
    // }

    if (!home_one_motor(i)) {

        /* 失敗したら3台とも停止要求 */
        for (uint8_t j = 0; j < 3; j++) {
            uint8_t stop_data[8] = {0};

            robostride_send(RS_TYPE_STOP, ROBOSTRIDE_HOST_ID, robostride_motor_id[j], stop_data);
            HAL_Delay(10);
        }

        printf("HOME FAILED id=%u\r\n",
               (unsigned int)robostride_motor_id[i]);
        fflush(stdout);

        /* 通常運転へ進まない */
        while (1) {
            HAL_Delay(100);
        }
    }
  }

  /* 3台とも確認 */
  for (uint8_t i = 0; i < 3; i++) {
    if (home_done[i] == 0){

        for (uint8_t j = 0; j < 3; j++) {
            uint8_t stop_data[8] = {0};
            robostride_send(RS_TYPE_STOP, ROBOSTRIDE_HOST_ID, robostride_motor_id[j], stop_data);
            HAL_Delay(10);
        }

        printf("HOME FAILED: homing is incomplete\r\n");
        fflush(stdout);

        while (1) {
            HAL_Delay(100);
        }
    }
  }

  printf("HOME ALL DONE\r\n");
  fflush(stdout);

  /* 全台の原点探索完了後に、通常の目標送信を開始 */
  motor_update_due = 0;

if (HAL_TIM_Base_Start_IT(&htim6) != HAL_OK) {
    Error_Handler();
}

  /* USER CODE END 2 */

  /* Infinite loop */
  while (1)
  {

    /* USER CODE BEGIN 3 */
    static uint32_t rx_print_tick = 0;
    static uint32_t previous_rx_count = 0;

    if (HAL_GetTick() - rx_print_tick >= 500U) {
        rx_print_tick = HAL_GetTick();

        /* 受信割り込みと競合しないようにコピー */
        uint32_t mask = __get_PRIMASK();
        __disable_irq();

        uint32_t count = velocity_rx_count;
        uint32_t stamp = velocity_rx_tick;
        float vx = rx_vx;
        float vy = rx_vy;
        float omega = rx_omega;

        __set_PRIMASK(mask);

        printf("CAN1 RX=%lu +%lu age_ms=%lu\r\n", (unsigned long)count, (unsigned long)(count - previous_rx_count), (unsigned long)(count ? HAL_GetTick() - stamp : 0U));

        /* 整数表示で、printfのfloat対応設定を不要にする */
        if (isfinite(vx) && isfinite(vy) && isfinite(omega) && fabsf(vx) < 1000.0f && fabsf(vy) < 1000.0f && fabsf(omega) < 1000.0f) {
            printf("vx_mm_s=%ld vy_mm_s=%ld omega_mrad_s=%ld\r\n", (long)(vx * 1000.0f), (long)(vy * 1000.0f), (long)(omega * 1000.0f));
        } else {
            printf("CAN1: invalid velocity value\r\n");
        }

        previous_rx_count = count;
        fflush(stdout);
    }

    /* 元の呼び出し。重複させない */

    swerve_task();
  //   static uint32_t last_rx_count = 0;
  //   static uint32_t last_print_tick = 0;

  //   if (HAL_GetTick() - last_print_tick >= 300)
  //   {
  //     CAN3_DiagPrint();
  //     FDCAN_ProtocolStatusTypeDef pstatus3;
  //     FDCAN_ErrorCountersTypeDef  ecounters3;
  //     HAL_FDCAN_GetProtocolStatus(&hfdcan3, &pstatus3);
  //     HAL_FDCAN_GetErrorCounters(&hfdcan3, &ecounters3);

  //     printf("RS/FDCAN3: tx_ok=%lu tx_fail=%lu last_st=%d last_id=0x%08lX BusOff=%d ErrPassive=%d Warning=%d TEC=%lu REC=%lu LEC=%lu Act=%lu\r\n",
  //          (unsigned long)tx_success_count,
  //          (unsigned long)tx_fail_count,
  //          (int)rs_last_tx_status,
  //          (unsigned long)rs_last_tx_id,
  //          pstatus3.BusOff,
  //          pstatus3.ErrorPassive,
  //          pstatus3.Warning,
  //          (unsigned long)ecounters3.TxErrorCnt,
  //          (unsigned long)ecounters3.RxErrorCnt,
  //          (unsigned long)pstatus3.LastErrorCode,
  //          (unsigned long)pstatus3.Activity);

  //     FDCAN_ProtocolStatusTypeDef pstatus1;
  //     FDCAN_ErrorCountersTypeDef  ecounters1;
  //     HAL_FDCAN_GetProtocolStatus(&hfdcan1, &pstatus1);
  //     HAL_FDCAN_GetErrorCounters(&hfdcan1, &ecounters1);

  //     printf("FDCAN1: BusOff=%d ErrPassive=%d Warning=%d TEC=%lu REC=%lu LastErrCode=%lu Activity=%lu\r\n",
  //          pstatus1.BusOff, pstatus1.ErrorPassive, pstatus1.Warning,
  //          (unsigned long)ecounters1.TxErrorCnt,
  //          (unsigned long)ecounters1.RxErrorCnt,
  //          (unsigned long)pstatus1.LastErrorCode,
  //          (unsigned long)pstatus1.Activity);

  //     printf("mode=[%d,%d,%d] last_index=0x%04X pos_ref=[%d,%d,%d] spd_ref=[%d,%d,%d]\r\n",
  //      control_mode[0], control_mode[1], control_mode[2],
  //      rs_last_param_index,
  //      (int)(robostride_pos_ref[0] * 1000.0f),
  //      (int)(robostride_pos_ref[1] * 1000.0f),
  //      (int)(robostride_pos_ref[2] * 1000.0f),
  //      (int)(robostride_spd_ref[0] * 1000.0f),
  //      (int)(robostride_spd_ref[1] * 1000.0f),
  //      (int)(robostride_spd_ref[2] * 1000.0f));

  //     last_print_tick = HAL_GetTick();
  //     fflush(stdout);
  //   }

  //   if (velocity_rx_count != last_rx_count)
  //   {
  //     printf("CAN0x100 RX#%d vx=%d vy=%d omega=%d\r\n",
  //     (int64_t)velocity_rx_count, (int64_t)rx_vx, (int64_t)rx_vy, (int64_t)rx_omega);
  //     last_rx_count = velocity_rx_count;
  //   }
  // }
    // static uint32_t photo_print_tick = 0;

    // if (HAL_GetTick() - photo_print_tick >= 100U)
    // {
    //   photo_print_tick = HAL_GetTick();

    //   unsigned int photo0 =
    //     (HAL_GPIO_ReadPin(motor_0_GPIO_Port, motor_0_Pin)
    //      == GPIO_PIN_SET);

    //   unsigned int photo1 =
    //     (HAL_GPIO_ReadPin(motor_1_GPIO_Port, motor_1_Pin)
    //      == GPIO_PIN_SET);

    //   unsigned int photo2 =
    //     (HAL_GPIO_ReadPin(motor_2_GPIO_Port, motor_2_Pin)
    //      == GPIO_PIN_SET);

    //   printf("PHOTO motor_0=%u motor_1=%u motor_2=%u\r\n",
    //        photo0, photo1, photo2);

    //   fflush(stdout);
    // }
  }

  /* USER CODE END 3 */
}

void SystemClock_Config(void)
{
  RCC_OscInitTypeDef RCC_OscInitStruct = {0};
  RCC_ClkInitTypeDef RCC_ClkInitStruct = {0};

  /** Configure the main internal regulator output voltage
  */
  HAL_PWREx_ControlVoltageScaling(PWR_REGULATOR_VOLTAGE_SCALE1);

  /** Initializes the RCC Oscillators according to the specified parameters
  * in the RCC_OscInitTypeDef structure.
  */
  RCC_OscInitStruct.OscillatorType = RCC_OSCILLATORTYPE_HSI;
  RCC_OscInitStruct.HSIState = RCC_HSI_ON;
  RCC_OscInitStruct.HSICalibrationValue = RCC_HSICALIBRATION_DEFAULT;
  RCC_OscInitStruct.PLL.PLLState = RCC_PLL_ON;
  RCC_OscInitStruct.PLL.PLLSource = RCC_PLLSOURCE_HSI;
  RCC_OscInitStruct.PLL.PLLM = RCC_PLLM_DIV1;
  RCC_OscInitStruct.PLL.PLLN = 10;
  RCC_OscInitStruct.PLL.PLLP = RCC_PLLP_DIV2;
  RCC_OscInitStruct.PLL.PLLQ = RCC_PLLQ_DIV2;
  RCC_OscInitStruct.PLL.PLLR = RCC_PLLR_DIV2;
  if (HAL_RCC_OscConfig(&RCC_OscInitStruct) != HAL_OK)
  {
    Error_Handler();
  }

  /** Initializes the CPU, AHB and APB buses clocks
  */
  RCC_ClkInitStruct.ClockType = RCC_CLOCKTYPE_HCLK|RCC_CLOCKTYPE_SYSCLK
                              |RCC_CLOCKTYPE_PCLK1|RCC_CLOCKTYPE_PCLK2;
  RCC_ClkInitStruct.SYSCLKSource = RCC_SYSCLKSOURCE_PLLCLK;
  RCC_ClkInitStruct.AHBCLKDivider = RCC_SYSCLK_DIV1;
  RCC_ClkInitStruct.APB1CLKDivider = RCC_HCLK_DIV1;
  RCC_ClkInitStruct.APB2CLKDivider = RCC_HCLK_DIV1;

  if (HAL_RCC_ClockConfig(&RCC_ClkInitStruct, FLASH_LATENCY_2) != HAL_OK)
  {
    Error_Handler();
  }
}

static void MX_FDCAN1_Init(void)
{

  hfdcan1.Instance = FDCAN1;
  hfdcan1.Init.ClockDivider = FDCAN_CLOCK_DIV1;
  hfdcan1.Init.FrameFormat = FDCAN_FRAME_FD_BRS;
  hfdcan1.Init.Mode = FDCAN_MODE_NORMAL;
  hfdcan1.Init.AutoRetransmission = ENABLE;
  hfdcan1.Init.TransmitPause = DISABLE;
  hfdcan1.Init.ProtocolException = DISABLE;
  hfdcan1.Init.NominalPrescaler = 4;
  hfdcan1.Init.NominalSyncJumpWidth = 1;
  hfdcan1.Init.NominalTimeSeg1 = 15;
  hfdcan1.Init.NominalTimeSeg2 = 4;
  hfdcan1.Init.DataPrescaler = 1;
  hfdcan1.Init.DataSyncJumpWidth = 1;
  hfdcan1.Init.DataTimeSeg1 = 31;
  hfdcan1.Init.DataTimeSeg2 = 8;
  hfdcan1.Init.StdFiltersNbr = 1;
  hfdcan1.Init.ExtFiltersNbr = 0;
  hfdcan1.Init.TxFifoQueueMode = FDCAN_TX_FIFO_OPERATION;
  if (HAL_FDCAN_Init(&hfdcan1) != HAL_OK)
  {
    Error_Handler();
  }

}

static void MX_FDCAN3_Init(void)
{

  hfdcan3.Instance = FDCAN3;
  hfdcan3.Init.ClockDivider = FDCAN_CLOCK_DIV1;
  hfdcan3.Init.FrameFormat = FDCAN_FRAME_CLASSIC;
  hfdcan3.Init.Mode = FDCAN_MODE_NORMAL;
  hfdcan3.Init.AutoRetransmission = ENABLE;
  hfdcan3.Init.TransmitPause = DISABLE;
  hfdcan3.Init.ProtocolException = DISABLE;
  hfdcan3.Init.NominalPrescaler = 4;
  hfdcan3.Init.NominalSyncJumpWidth = 1;
  hfdcan3.Init.NominalTimeSeg1 = 15;
  hfdcan3.Init.NominalTimeSeg2 = 4;
  hfdcan3.Init.DataPrescaler = 1;
  hfdcan3.Init.DataSyncJumpWidth = 1;
  hfdcan3.Init.DataTimeSeg1 = 15;
  hfdcan3.Init.DataTimeSeg2 = 4;
  hfdcan3.Init.StdFiltersNbr = 1;
  hfdcan3.Init.ExtFiltersNbr = 1;
  hfdcan3.Init.TxFifoQueueMode = FDCAN_TX_FIFO_OPERATION;
  if (HAL_FDCAN_Init(&hfdcan3) != HAL_OK)
  {
    Error_Handler();
  }

}

static void MX_TIM6_Init(void)
{

  TIM_MasterConfigTypeDef sMasterConfig = {0};

  htim6.Instance = TIM6;
  htim6.Init.Prescaler = 39999;
  htim6.Init.CounterMode = TIM_COUNTERMODE_UP;
  htim6.Init.Period = 1;
  htim6.Init.AutoReloadPreload = TIM_AUTORELOAD_PRELOAD_DISABLE;
  if (HAL_TIM_Base_Init(&htim6) != HAL_OK)
  {
    Error_Handler();
  }
  sMasterConfig.MasterOutputTrigger = TIM_TRGO_RESET;
  sMasterConfig.MasterSlaveMode = TIM_MASTERSLAVEMODE_DISABLE;
  if (HAL_TIMEx_MasterConfigSynchronization(&htim6, &sMasterConfig) != HAL_OK)
  {
    Error_Handler();
  }

}

static void MX_USART2_UART_Init(void)
{

  huart2.Instance = USART2;
  huart2.Init.BaudRate = 115200;
  huart2.Init.WordLength = UART_WORDLENGTH_8B;
  huart2.Init.StopBits = UART_STOPBITS_1;
  huart2.Init.Parity = UART_PARITY_NONE;
  huart2.Init.Mode = UART_MODE_TX_RX;
  huart2.Init.HwFlowCtl = UART_HWCONTROL_NONE;
  huart2.Init.OverSampling = UART_OVERSAMPLING_16;
  huart2.Init.OneBitSampling = UART_ONE_BIT_SAMPLE_DISABLE;
  huart2.Init.ClockPrescaler = UART_PRESCALER_DIV1;
  huart2.AdvancedInit.AdvFeatureInit = UART_ADVFEATURE_NO_INIT;
  if (HAL_UART_Init(&huart2) != HAL_OK)
  {
    Error_Handler();
  }
  if (HAL_UARTEx_SetTxFifoThreshold(&huart2, UART_TXFIFO_THRESHOLD_1_8) != HAL_OK)
  {
    Error_Handler();
  }
  if (HAL_UARTEx_SetRxFifoThreshold(&huart2, UART_RXFIFO_THRESHOLD_1_8) != HAL_OK)
  {
    Error_Handler();
  }
  if (HAL_UARTEx_DisableFifoMode(&huart2) != HAL_OK)
  {
    Error_Handler();
  }

}

static void MX_GPIO_Init(void)
{
  GPIO_InitTypeDef GPIO_InitStruct = {0};

  /* GPIO Ports Clock Enable */
  __HAL_RCC_GPIOC_CLK_ENABLE();
  __HAL_RCC_GPIOA_CLK_ENABLE();
  __HAL_RCC_GPIOD_CLK_ENABLE();

  /*Configure GPIO pin Output Level */
  HAL_GPIO_WritePin(LED_GPIO_Port, LED_Pin, GPIO_PIN_RESET);

  /*Configure GPIO pins : motor_2_Pin motor_1_Pin motor_0_Pin */
  GPIO_InitStruct.Pin = motor_2_Pin|motor_1_Pin|motor_0_Pin;
  GPIO_InitStruct.Mode = GPIO_MODE_INPUT;
  GPIO_InitStruct.Pull = GPIO_NOPULL;
  HAL_GPIO_Init(GPIOC, &GPIO_InitStruct);

  /*Configure GPIO pin : LED_Pin */
  GPIO_InitStruct.Pin = LED_Pin;
  GPIO_InitStruct.Mode = GPIO_MODE_OUTPUT_PP;
  GPIO_InitStruct.Pull = GPIO_NOPULL;
  GPIO_InitStruct.Speed = GPIO_SPEED_FREQ_LOW;
  HAL_GPIO_Init(LED_GPIO_Port, &GPIO_InitStruct);

}

void Error_Handler(void)
{
  __disable_irq();
  while (1)
  {
  }
}
